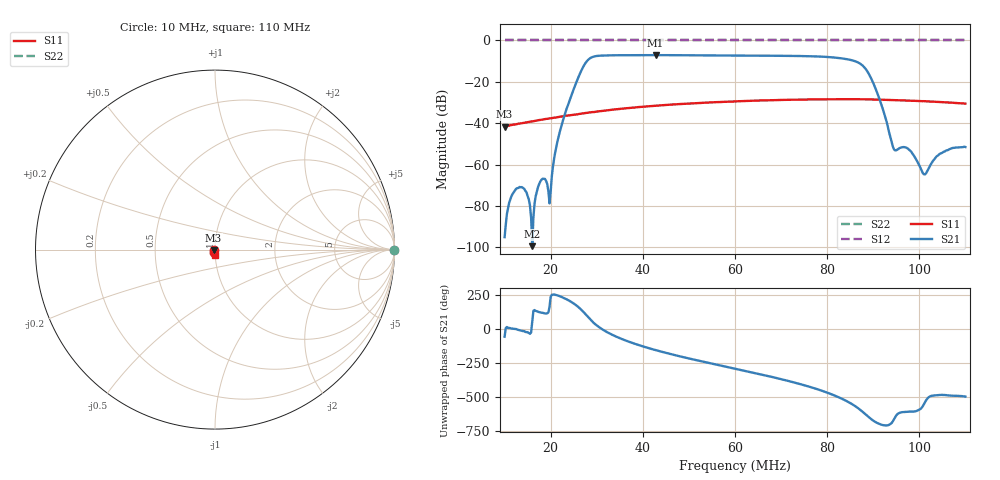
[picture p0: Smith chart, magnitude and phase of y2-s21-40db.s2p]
! Anritsu VNA Master:  Model: MS2034B/10/19/501
! SN:  1337062
! /bd0/ovro-jan-2016/y2-s21-40db.s2p
! Existing Calibration Information:
! TYPE:  Current Settings,  Active Cal Settings
! TIME:  01/08/2016 03:15:47 PM,  01/08/2016 03:05:41 PM
! INTERNAL TEMP:  41.8 C,  43.3 C
! # POINTS:  401,  401
! START FREQ:  10.000 MHz,  10.000 MHz
! STOP FREQ:  110.000 MHz,  110.000 MHz
! SOURCE POWER:  High,  High
! IFBW:  100 Hz,  100 Hz
! AVG FACTOR:  1 ,  1
! REF PLANE 1:  0 mm,  0 mm
! REF PLANE 2:  0 mm,  0 mm
! CAL TYPE:  1P2P S11,S21,  1P2P S11,S21
! CAL METHOD:  SOLT,  SOLT
! CAL LINE TYPE:  Coax,  Coax
! DUT PORT 1:  K-Conn(M),  K-Conn(M)
! DUT PORT 2:  N-Conn(M),  N-Conn(M)
! CAL STATUS:  OK: Accuracy High,  --
# GHZ S DB R 50.0
! FREQ.GHZ  S11DB  S11A  S21DB  S21A  S12DB  S12A  S22DB  S22A
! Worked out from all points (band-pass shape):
!   401 points, 10 MHz to 110 MHz, reference 50 ohm
!   highest |S21| = -7.08 dB at 42.75 MHz (marker M1); lowest = -99.5 dB at 16 MHz (marker M2)
!   |S21| within 3 dB of the highest: 27.84 MHz to 86.12 MHz (58.28 MHz wide, 102 % of centre)
!   lowest |S11| = -41.7 dB at 10 MHz (marker M3), VSWR 1.02, Z = 49.2 - j0.291 ohm
!   |S11| at or under -10 dB: start of sweep to end of sweep
!   |S22| runs from 0.0 to 0.0 dB; largest |S21 - S12| = 1.4
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0.01  -41.73 -158.9  -95.09 -58.5  0.00 0.0  0.00 0.0
0.0135  -40.13 -164.4  -70.97 -12.6  0.00 0.0  0.00 0.0
0.016  -39.11 -166.2  -99.46 56.1  0.00 0.0  0.00 0.0
0.018  -38.34 -166.7  -67.37 118.0  0.00 0.0  0.00 0.0
0.01975  -37.68 -166.9  -78.77 162.1  0.00 0.0  0.00 0.0
0.02225  -36.80 -167.0  -41.97 -125.0  0.00 0.0  0.00 0.0
0.02675  -35.33 -165.3  -14.11 135.7  0.00 0.0  0.00 0.0
0.02875  -34.77 -164.3  -8.33 62.5  0.00 0.0  0.00 0.0
0.0315  -33.97 -162.4  -7.28 -10.5  0.00 0.0  0.00 0.0
0.03625  -32.80 -158.0  -7.13 -85.9  0.00 0.0  0.00 0.0
0.04275  -31.55 -151.5  -7.08 -156.5  0.00 0.0  0.00 0.0
0.0435  -31.44 -150.9  -7.09 -163.4  0.00 0.0  0.00 0.0
0.06  -29.51 -132.9  -7.32 67.4  0.00 0.0  0.00 0.0
0.069  -28.83 -123.4  -7.39 -1.4  0.00 0.0  0.00 0.0
0.07675  -28.53 -115.3  -7.66 -71.5  0.00 0.0  0.00 0.0
0.08375  -28.40 -108.0  -8.85 -162.6  0.00 0.0  0.00 0.0
0.08775  -28.45 -103.5  -12.24 108.8  0.00 0.0  0.00 0.0
0.0935  -28.73 -97.9  -44.96 16.6  0.00 0.0  0.00 0.0
0.09475  -28.81 -96.8  -53.16 71.5  0.00 0.0  0.00 0.0
0.09775  -29.09 -94.4  -52.75 111.8  0.00 0.0  0.00 0.0
0.101  -29.35 -91.8  -64.71 166.8  0.00 0.0  0.00 0.0
0.11  -30.53 -87.7  -51.53 -137.7  0.00 0.0  0.00 0.0
